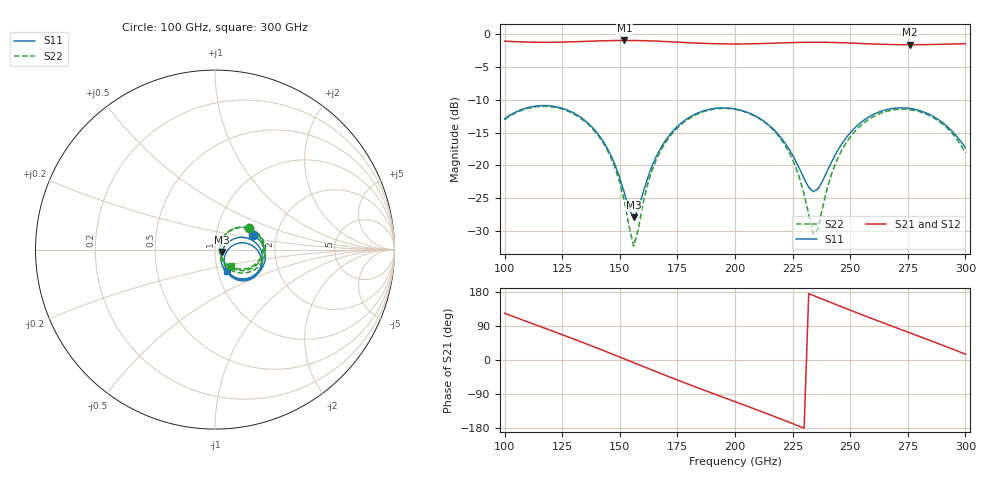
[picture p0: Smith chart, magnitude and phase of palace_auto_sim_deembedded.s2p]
! Created with skrf 1.11.0 (http://scikit-rf.org).
# GHz S DB R 50.0
!freq dBS11 angS11 dBS21 angS21 dBS12 angS12 dBS22 angS22
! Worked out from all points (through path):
!   101 points, 100 GHz to 300 GHz, reference 50 ohm
!   highest |S21| = -1.01 dB at 152 GHz (marker M1); lowest = -1.7 dB at 276 GHz (marker M2)
!   group delay of S21, straight-line fit = 6.52 ps
!   lowest |S11| = -27.9 dB at 156 GHz (marker M3), VSWR 1.08, Z = 54 - j1.35 ohm
!   |S11| at or under -10 dB: start of sweep to end of sweep
!   |S22| runs from -32.3 to -11.0 dB; largest |S21 - S12| = 1.5e-12
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100  -12.91 20.9  -1.11 123.3  -1.11 123.3  -13.04 32.2
116  -10.90 -11.3  -1.28 87.1  -1.28 87.1  -11.03 0.7
134  -12.93 -47.2  -1.16 46.1  -1.16 46.1  -13.09 -35.2
144  -17.03 -63.3  -1.05 22.3  -1.05 22.3  -17.30 -53.2
152  -24.19 -57.7  -1.01 2.8  -1.01 2.8  -25.47 -54.4
156  -27.91 -18.0  -1.01 -7.0  -1.01 -7.0  -32.27 -3.8
162  -21.99 28.2  -1.06 -21.6  -1.06 -21.6  -22.96 55.9
168  -17.21 28.1  -1.14 -36.2  -1.14 -36.2  -17.59 51.9
184  -12.01 1.8  -1.42 -73.7  -1.42 -73.7  -12.15 22.9
200  -11.41 -27.7  -1.54 -110.0  -1.54 -110.0  -11.48 -7.9
212  -13.15 -48.0  -1.48 -137.3  -1.48 -137.3  -13.23 -30.7
222  -16.74 -59.8  -1.36 -160.7  -1.36 -160.7  -17.11 -47.7
228  -20.51 -56.5  -1.30 -175.1  -1.30 -175.1  -21.88 -52.0
234  -23.98 -24.8  -1.28 170.3  -1.28 170.3  -30.44 -11.9
236  -23.59 -9.1  -1.28 165.4  -1.28 165.4  -29.71 26.0
242  -19.40 14.0  -1.31 150.8  -1.31 150.8  -21.18 55.4
248  -15.90 13.7  -1.37 136.3  -1.37 136.3  -16.69 49.8
258  -12.64 0.1  -1.52 112.6  -1.52 112.6  -13.02 31.8
268  -11.36 -17.2  -1.63 89.6  -1.63 89.6  -11.60 12.1
276  -11.34 -31.2  -1.66 71.4  -1.66 71.4  -11.53 -3.8
290  -13.46 -53.3  -1.58 39.1  -1.58 39.1  -13.68 -30.7
300  -17.32 -60.0  -1.51 15.5  -1.51 15.5  -18.07 -46.2
